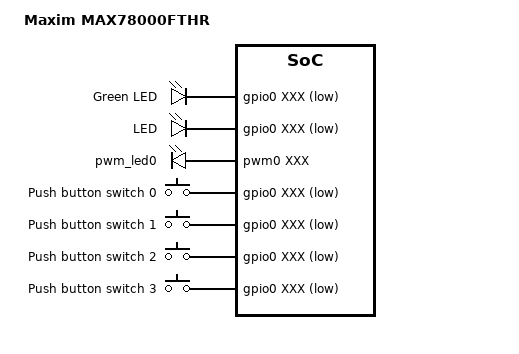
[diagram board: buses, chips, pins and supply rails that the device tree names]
/dts-v1/;
#include <maxim/max78000.dtsi>

/ {
	model = "Maxim MAX78000FTHR";
	compatible = "maxim,max78000fthr";

	chosen {
		zephyr,console = &uart0;
		zephyr,shell-uart = &uart0;
		zephyr,uart-mcumgr = &uart0;
		zephyr,bt-mon-uart = &uart0;
		zephyr,bt-c2h-uart = &uart0;
		zephyr,sram = &sram0;
		zephyr,flash = &flash0;
		zephyr,code-partition = &slot0_partition;
	};

	leds {
		compatible = "gpio-leds";
		led0: led_0 {
			gpios = <&gpio0 XXX GPIO_ACTIVE_LOW>;
			label = "Green LED";
		};
		led1: led_1 {
			gpios = <&gpio0 XXX GPIO_ACTIVE_LOW>;
			label = "LED";
		};
	};

	pwmleds {
		compatible = "pwm-leds";
		pwm_led0: pwm_led_0 {
			pwms = <&pwm0 XXX>;
		};
	};

	buttons {
		compatible = "gpio-keys";
		button0: button_0 {
			gpios = <&gpio0 XXX (GPIO_PULL_UP | GPIO_ACTIVE_LOW)>;
			label = "Push button switch 0";
		};
		button1: button_1 {
			gpios = <&gpio0 XXX (GPIO_PULL_UP | GPIO_ACTIVE_LOW)>;
			label = "Push button switch 1";
		};
		button2: button_2 {
			gpios = <&gpio0 XXX (GPIO_PULL_UP | GPIO_ACTIVE_LOW)>;
			label = "Push button switch 2";
		};
		button3: button_3 {
			gpios = <&gpio0 XXX (GPIO_PULL_UP | GPIO_ACTIVE_LOW)>;
			label = "Push button switch 3";
		};
	};

&uart0 {
	status = "okay";
	compatible = "maxim,max78000";
	current-speed = <115200>;
	tx-pin = <XXX>;
	rx-pin = <XXX>;
	rts-pin = <XXX>;
	cts-pin = <XXX>;
};

&flash0 {
	partitions {
		compatible = "fixed-partitions";
		#address-cells = <1>;
		#size-cells = <1>;

		boot_partition: partition@0 {
			label = "mcuboot";
			reg = <0x00000000 0xc000>;
		};
		slot0_partition: partition@c000 {
			label = "image-0";
			reg = <0x0000C000 0x32000>;
		};
		slot1_partition: partition@3e000 {
			label = "image-1";
			reg = <0x0003E000 0x32000>;
		};
		scratch_partition: partition@70000 {
			label = "image-scratch";
			reg = <0x00070000 0xa000>;
		};
		storage_partition: partition@7a000 {
			label = "storage";
			reg = <0x0007a000 0x00006000>;
		};
	};
};
